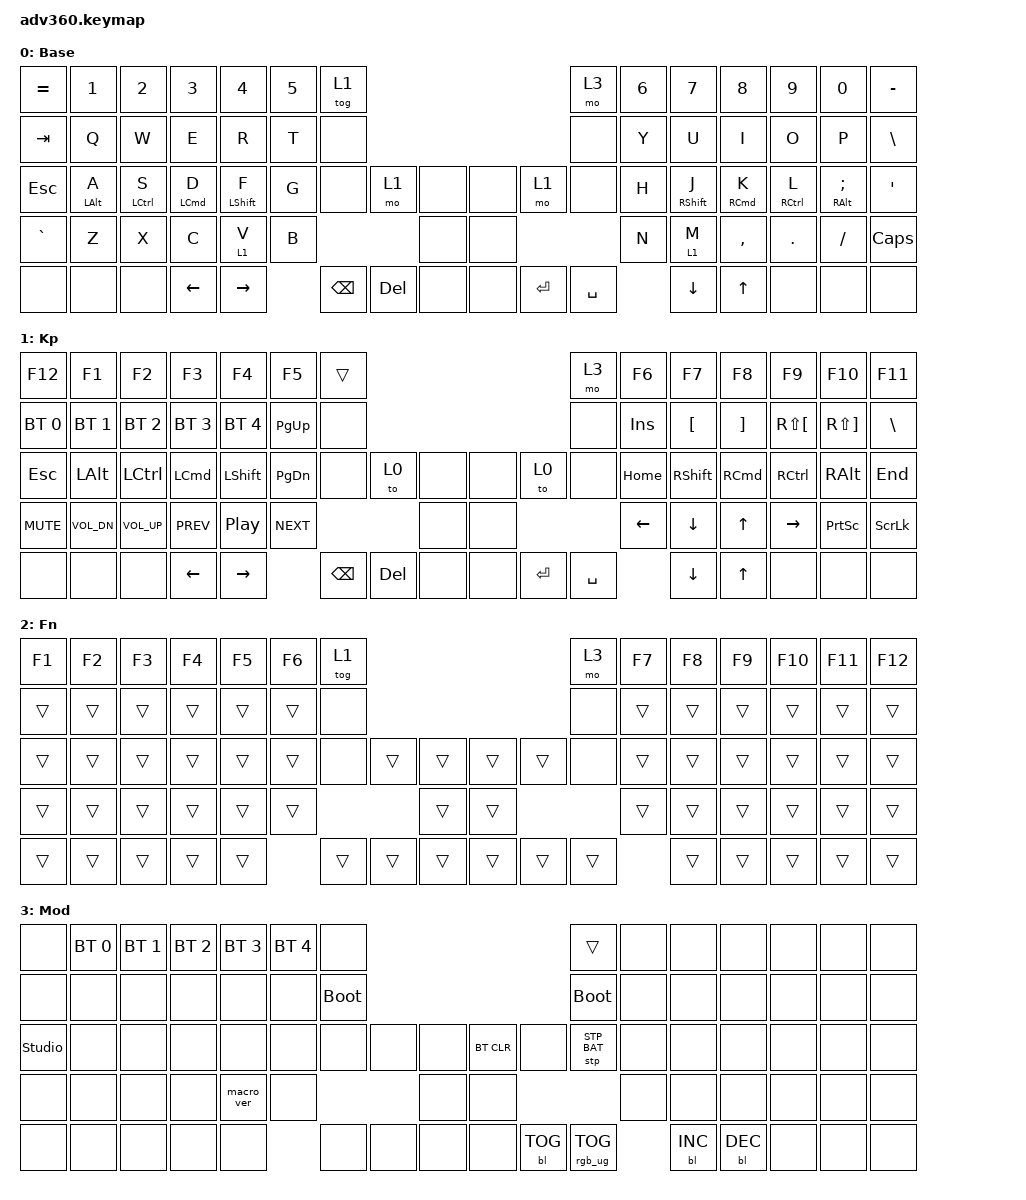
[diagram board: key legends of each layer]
#include <dt-bindings/zmk/stp.h>
#include <behaviors.dtsi>
#include <dt-bindings/zmk/backlight.h>
#include <dt-bindings/zmk/bt.h>
#include <dt-bindings/zmk/keys.h>
#include <dt-bindings/zmk/rgb.h>

/ {
    behaviors {
        #include "macros.dtsi"
      #include "version.dtsi"

        hm: homerow_mods {
            compatible = "zmk,behavior-hold-tap";
            label = "HOMEROW_MODS";
            #binding-cells = <2>;
            tapping-term-ms = <200>;
            quick_tap_ms = <175>;
            flavor = "tap-preferred";
            bindings = <&kp>, <&kp>;
        };

        hrm: hrm {
            compatible = "zmk,behavior-hold-tap";
            label = "HRM";
            bindings = <&kp>, <&kp>;

            #binding-cells = <2>;
            tapping-term-ms = <250>;
            quick-tap-ms = <150>;
            require-prior-idle-ms = <125>;
            flavor = "tap-preferred";
        };

        htl: htl {
            compatible = "zmk,behavior-hold-tap";
            label = "HTL";
            bindings = <&mo>, <&kp>;

            #binding-cells = <2>;
            tapping-term-ms = <250>;
            quick-tap-ms = <150>;
            require-prior-idle-ms = <125>;
            flavor = "tap-preferred";
        };
    };

    keymap {
        compatible = "zmk,keymap";

        default_layer {
            display-name = "Base";
            bindings = <
&kp EQUAL  &kp N1       &kp N2        &kp N3          &kp N4           &kp N5  &tog 1                                          &mo 3      &kp N6  &kp N7          &kp N8        &kp N9        &kp N0               &kp MINUS
&kp TAB    &kp Q        &kp W         &kp E           &kp R            &kp T   &none                                           &none      &kp Y   &kp U           &kp I         &kp O         &kp P                &kp BSLH
&kp ESC    &hrm LALT A  &hrm LCTRL S  &hrm LCMD D     &hrm LSHFT F     &kp G   &none     &mo 1    &none      &none  &mo 1      &none      &kp H   &hrm RSHFT J    &hrm RCMD K   &hrm RCTRL L  &hrm RALT SEMICOLON  &kp SQT
&kp GRAVE  &kp Z        &kp X         &kp C           &htl 1 V         &kp B                      &none      &none                        &kp N   &htl 1 M        &kp COMMA     &kp DOT       &kp FSLH             &kp CAPSLOCK
&none      &none        &none         &kp LEFT_ARROW  &kp RIGHT_ARROW          &kp BSPC  &kp DEL  &none      &none  &kp ENTER  &kp SPACE          &kp DOWN_ARROW  &kp UP_ARROW  &none         &none                &none
            >;
        };

        keypad {
            display-name = "Kp";
            bindings = <
&kp F12       &kp F1        &kp F2        &kp F3          &kp F4            &kp F5         &trans                                          &mo 3      &kp F6          &kp F7            &kp F8             &kp F9                &kp F10                &kp F11
&bt BT_SEL 0  &bt BT_SEL 1  &bt BT_SEL 2  &bt BT_SEL 3    &bt BT_SEL 4      &kp PAGE_UP    &none                                           &none      &kp INSERT      &kp LEFT_BRACKET  &kp RIGHT_BRACKET  &kp RS(LEFT_BRACKET)  &kp RS(RIGHT_BRACKET)  &kp BSLH
&kp ESC       &kp LALT      &kp LCTRL     &kp LCMD        &kp LSHFT         &kp PAGE_DOWN  &none     &to 0    &none      &none  &to 0      &none      &kp HOME        &kp RSHFT         &kp RCMD           &kp RCTRL             &kp RALT               &kp END
&kp C_MUTE    &kp C_VOL_DN  &kp C_VOL_UP  &kp C_PREV      &kp C_PLAY_PAUSE  &kp C_NEXT                        &none      &none                        &kp LEFT_ARROW  &kp DOWN_ARROW    &kp UP_ARROW       &kp RIGHT             &kp PRINTSCREEN        &kp SCROLLLOCK
&none         &none         &none         &kp LEFT_ARROW  &kp RIGHT_ARROW                  &kp BSPC  &kp DEL  &none      &none  &kp ENTER  &kp SPACE                  &kp DOWN_ARROW    &kp UP_ARROW       &none                 &none                  &none
            >;
        };

        fn {
            display-name = "Fn";
            bindings = <
&kp F1  &kp F2  &kp F3  &kp F4  &kp F5  &kp F6  &tog 1                                      &mo 3   &kp F7  &kp F8  &kp F9  &kp F10  &kp F11  &kp F12
&trans  &trans  &trans  &trans  &trans  &trans  &none                                       &none   &trans  &trans  &trans  &trans   &trans   &trans
&trans  &trans  &trans  &trans  &trans  &trans  &none   &trans  &trans      &trans  &trans  &none   &trans  &trans  &trans  &trans   &trans   &trans
&trans  &trans  &trans  &trans  &trans  &trans                  &trans      &trans                  &trans  &trans  &trans  &trans   &trans   &trans
&trans  &trans  &trans  &trans  &trans          &trans  &trans  &trans      &trans  &trans  &trans          &trans  &trans  &trans   &trans   &trans
            >;
        };

        mod {
            display-name = "Mod";
            bindings = <
&none           &bt BT_SEL 0  &bt BT_SEL 1  &bt BT_SEL 2  &bt BT_SEL 3  &bt BT_SEL 4  &none                                                  &trans           &none  &none       &none       &none  &none  &none
&none           &none         &none         &none         &none         &none         &bootloader                                            &bootloader      &none  &none       &none       &none  &none  &none
&studio_unlock  &none         &none         &none         &none         &none         &none        &none  &none      &bt BT_CLR  &none       &stp STP_BAT     &none  &none       &none       &none  &none  &none
&none           &none         &none         &none         &macro_ver    &none                             &none      &none                                    &none  &none       &none       &none  &none  &none
&none           &none         &none         &none         &none                       &none        &none  &none      &none       &bl BL_TOG  &rgb_ug RGB_TOG         &bl BL_INC  &bl BL_DEC  &none  &none  &none
            >;
        };

        extra1 {
            display-name = "Red";
            status = "reserved";
        };

        extra2 {
            display-name = "Purple";
            status = "reserved";
        };

        extra3 {
            display-name = "Cyan";
            status = "reserved";
        };

        extra4 {
            display-name = "Yellow";
            status = "reserved";
        };
    };
};
